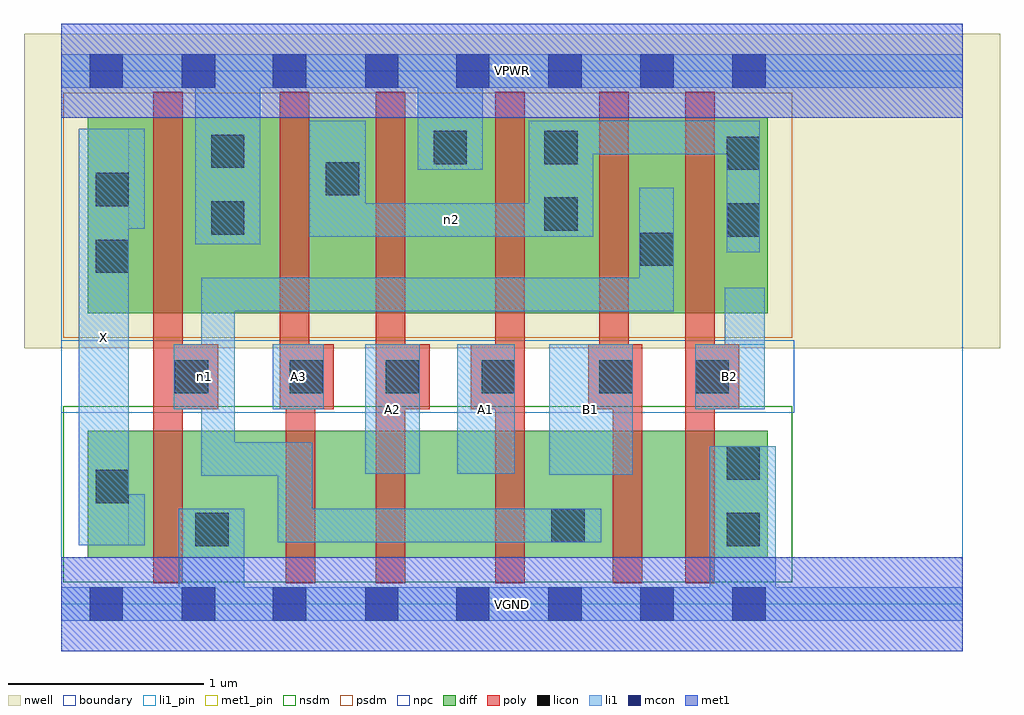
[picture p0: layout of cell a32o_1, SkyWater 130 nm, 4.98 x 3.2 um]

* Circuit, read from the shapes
.subckt a32o_1 A1 A2 A3 B1 B2 VGND VPWR X n1 n2
XM1 VGND n1 X VSUBS sky130_fd_pr__nfet_01v8 w=0.65 l=0.15
XM2 n3 A3 VGND VSUBS sky130_fd_pr__nfet_01v8 w=0.65 l=0.15
XM3 n4 A2 n3 VSUBS sky130_fd_pr__nfet_01v8 w=0.65 l=0.15
XM4 n1 A1 n4 VSUBS sky130_fd_pr__nfet_01v8 w=0.65 l=0.15
XM5 n5 B1 n1 VSUBS sky130_fd_pr__nfet_01v8 w=0.65 l=0.15
XM6 VGND B2 n5 VSUBS sky130_fd_pr__nfet_01v8 w=0.65 l=0.15
XM7 VPWR n1 X n6 sky130_fd_pr__pfet_01v8 w=1 l=0.15
XM8 n2 A3 VPWR n6 sky130_fd_pr__pfet_01v8 w=1 l=0.15
XM9 VPWR A2 n2 n6 sky130_fd_pr__pfet_01v8 w=1 l=0.15
XM10 n2 A1 VPWR n6 sky130_fd_pr__pfet_01v8 w=1 l=0.15
XM11 n1 B1 n2 n6 sky130_fd_pr__pfet_01v8 w=1 l=0.15
XM12 n2 B2 n1 n6 sky130_fd_pr__pfet_01v8 w=1 l=0.15
.ends

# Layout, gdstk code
import gdstk
lib = gdstk.Library(unit=1e-6, precision=1e-09)
def R(c, l, rs):  # rectangles x0, y0, x1, y1
    for r in rs: c.add(gdstk.rectangle(r[:2], r[2:], *l))
def A(c, l, x, y, w, h, nx, ny, dx, dy):  # array of equal rectangles
    R(c, l, [(x+i*dx, y+j*dy, x+i*dx+w, y+j*dy+h) for i in range(nx) for j in range(ny)])
nwell = (64, 20)
diff = (65, 20)
poly = (66, 20)
licon = (66, 44)
li1_pin = (67, 16)
li1 = (67, 20)
mcon = (67, 44)
met1_pin = (68, 16)
met1 = (68, 20)
nsdm = (93, 44)
psdm = (94, 20)
npc = (95, 20)
boundary = (235, 4)

a32o_1 = lib.new_cell('a32o_1')
R(a32o_1, nwell, [(-0.19,1.305,4.79,2.91), (0,1.305,4.6,2.91)])
R(a32o_1, diff, [(0.135,0.235,3.605,0.885), (0.135,1.485,3.605,2.485)])
R(a32o_1, poly, [(0.47,0.105,0.62,2.615), (1.145,0.105,1.295,1.325), (1.605,0.105,1.755,2.615), (2.215,0.105,2.365,2.615), (2.815,0.105,2.965,1.325), (3.185,0.105,3.335,2.615), (0.47,0.995,0.8,1.325), (1.115,0.995,1.265,2.615), (1.115,0.995,1.39,1.325), (1.605,0.995,1.88,1.325), (2.09,0.995,2.365,1.325), (2.69,0.995,2.965,1.325), (2.745,0.995,2.895,2.615), (3.185,0.995,3.46,1.325)])
A(a32o_1, licon, 1.165, 1.075, 0.17, 0.17, 3, 1, 0.49, 0)
R(a32o_1, licon, [(0.685,0.295,0.855,0.465), (3.395,0.295,3.565,0.465), (2.5,0.315,2.67,0.485), (0.175,0.515,0.345,0.685), (3.395,0.635,3.565,0.805), (0.58,1.075,0.75,1.245), (2.745,1.075,2.915,1.245), (3.235,1.075,3.405,1.245), (0.175,1.69,0.345,1.86), (2.955,1.725,3.125,1.895), (3.395,1.875,3.565,2.045), (0.765,1.885,0.935,2.055), (2.465,1.905,2.635,2.075), (0.175,2.03,0.345,2.2), (1.35,2.085,1.52,2.255), (3.395,2.215,3.565,2.385), (0.765,2.225,0.935,2.395), (1.9,2.245,2.07,2.415), (2.465,2.245,2.635,2.415)])
R(a32o_1, li1_pin, [(0.09,0.3,0.345,2.425), (2.49,0.66,2.915,1.325), (1.55,0.665,1.83,1.325), (2.02,0.665,2.315,1.325), (1.08,0.995,1.34,1.325), (3.235,0.995,3.59,1.325)])
R(a32o_1, li1, [(0,-0.085,4.6,0.085), (0.6,-0.085,0.935,0.485), (3.31,-0.085,3.645,0.805), (0.09,0.3,0.345,2.425), (0.09,0.3,0.425,0.56), (1.105,0.315,2.755,0.485), (1.105,0.315,1.28,0.825), (0.715,0.655,0.885,1.665), (0.715,0.655,1.28,0.825), (2.49,0.66,2.915,1.325), (1.55,0.665,1.83,1.325), (2.02,0.665,2.315,1.325), (0.575,0.995,0.885,1.325), (1.08,0.995,1.34,1.325), (3.235,0.995,3.59,1.325), (3.385,0.995,3.59,1.615), (0.715,1.495,3.125,1.665), (2.95,1.495,3.125,2.125), (3.395,1.795,3.565,2.465), (0.685,1.835,1.015,2.805), (1.265,1.875,2.715,2.045), (1.265,1.875,1.555,2.465), (2.385,1.875,2.715,2.465), (0.09,1.915,0.425,2.425), (1.82,2.215,2.15,2.805), (2.385,2.295,3.565,2.465), (0,2.635,4.6,2.805)])
A(a32o_1, mcon, 2.015, -0.085, 0.17, 0.17, 4, 2, 0.47, 2.72)
R(a32o_1, mcon, [(0.145,-0.085,0.315,0.085), (0.615,-0.085,0.785,0.085), (1.08,-0.085,1.25,0.085), (1.55,-0.085,1.72,0.085), (0.145,2.635,0.315,2.805), (0.615,2.635,0.785,2.805), (1.08,2.635,1.25,2.805), (1.55,2.635,1.72,2.805)])
R(a32o_1, met1_pin, [(0,-0.24,4.6,0.24), (0,2.48,4.6,2.96)])
R(a32o_1, met1, [(0,-0.24,4.6,0.24), (0,2.48,4.6,2.96)])
R(a32o_1, nsdm, [(0.01,0.11,3.73,1.01)])
R(a32o_1, psdm, [(0.01,1.36,3.73,2.61)])
R(a32o_1, npc, [(0,0.975,3.74,1.345)])
R(a32o_1, boundary, [(0,0,4.6,2.72)])
a32o_1.add(gdstk.Label('A1', (2.167,0.995), layer=67, texttype=5))
a32o_1.add(gdstk.Label('A2', (1.69,0.995), layer=67, texttype=5))
a32o_1.add(gdstk.Label('A3', (1.21,1.16), layer=67, texttype=5))
a32o_1.add(gdstk.Label('B1', (2.702,0.992), layer=67, texttype=5))
a32o_1.add(gdstk.Label('B2', (3.412,1.16), layer=67, texttype=5))
a32o_1.add(gdstk.Label('X', (0.217,1.362), layer=67, texttype=5))
a32o_1.add(gdstk.Label('n1', (0.73,1.16), layer=67, texttype=5))
a32o_1.add(gdstk.Label('n2', (1.99,1.96), layer=67, texttype=5))
a32o_1.add(gdstk.Label('VPWR', (2.3,2.72), layer=68, texttype=5))
a32o_1.add(gdstk.Label('VGND', (2.3,0), layer=68, texttype=5))
a32o_1.add(gdstk.Label('A1', (2.167,0.995), layer=67, texttype=16))
a32o_1.add(gdstk.Label('A2', (1.69,0.995), layer=67, texttype=16))
a32o_1.add(gdstk.Label('A3', (1.21,1.16), layer=67, texttype=16))
a32o_1.add(gdstk.Label('B1', (2.702,0.992), layer=67, texttype=16))
a32o_1.add(gdstk.Label('B2', (3.412,1.16), layer=67, texttype=16))
a32o_1.add(gdstk.Label('X', (0.217,1.362), layer=67, texttype=16))
a32o_1.add(gdstk.Label('VPWR', (2.3,2.72), layer=68, texttype=16))
a32o_1.add(gdstk.Label('VGND', (2.3,0), layer=68, texttype=16))

lib.write_gds('a32o_1.gds')
